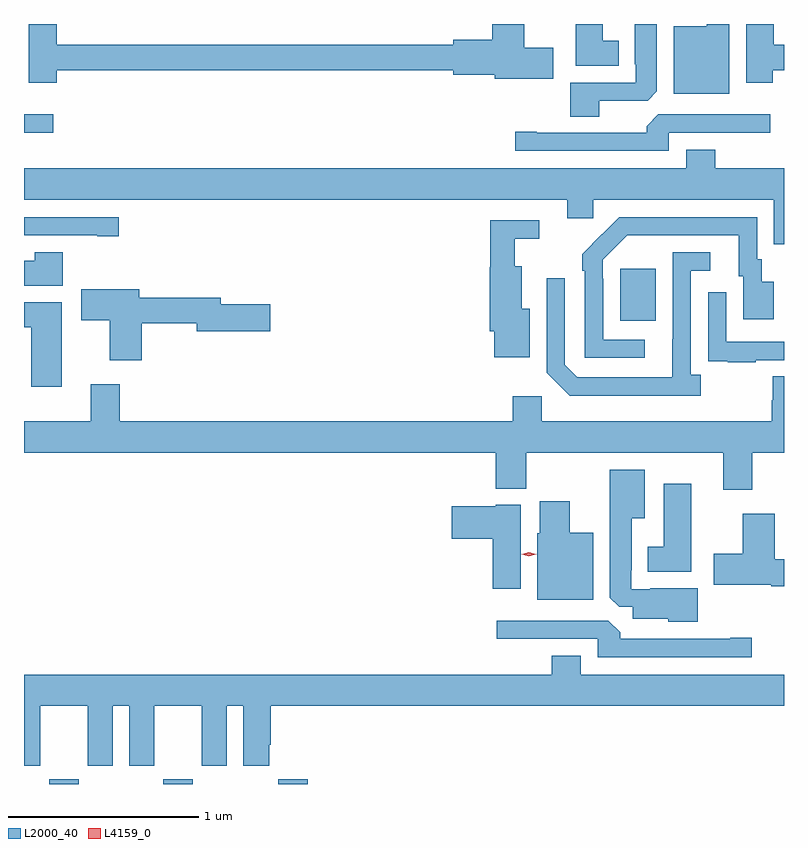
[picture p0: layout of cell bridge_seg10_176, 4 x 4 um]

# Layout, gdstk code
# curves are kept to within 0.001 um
import gdstk
lib = gdstk.Library(unit=1e-6, precision=1e-09)
def R(c, l, rs):  # rectangles x0, y0, x1, y1
    for r in rs: c.add(gdstk.rectangle(r[:2], r[2:], *l))
def P(c, l, *ps):  # polygons
    for p in ps: c.add(gdstk.Polygon(p, *l))
L2000_40 = (2000, 40)
L4159_0 = (4159, 0)

bridge_seg10_176 = lib.new_cell('bridge_seg10_176')
R(bridge_seg10_176, L2000_40, [(183.661,1266.604,183.816,1266.628), (184.261,1266.604,184.416,1266.628), (184.865,1266.604,185.021,1266.628), (186.665,1269.041,186.853,1269.316), (183.528,1270.032,183.682,1270.128)])
P(bridge_seg10_176, L2000_40, [(187.47,1270.36),(187.528,1270.36),(187.528,1270.496),(187.475,1270.496),(187.475,1270.604),(187.328,1270.604),(187.328,1270.296),(187.47,1270.296)],
  [(186.556,1270.2),(186.81,1270.2),(186.859,1270.249),(186.859,1270.604),(186.743,1270.604),(186.743,1270.393),(186.747,1270.393),(186.747,1270.296),(186.404,1270.296),(186.404,1270.117),(186.556,1270.117)],
  [(187.24,1270.604),(187.122,1270.604),(187.122,1270.591),(186.947,1270.591),(186.947,1270.238),(187.24,1270.238)],
  [(186.658,1270.516),(186.574,1270.516),(186.574,1270.604),(186.431,1270.604),(186.431,1270.385),(186.658,1270.385)],
  [(183.701,1270.36),(185.786,1270.36),(185.786,1270.337),(186.005,1270.337),(186.005,1270.316),(186.313,1270.316),(186.313,1270.479),(186.16,1270.479),(186.16,1270.604),(185.993,1270.604),(185.993,1270.52),(185.786,1270.52),(185.786,1270.496),(183.701,1270.496),(183.701,1270.604),(183.554,1270.604),(183.554,1270.296),(183.701,1270.296)],
  [(186.921,1270.032),(187.456,1270.032),(187.456,1270.128),(186.867,1270.128),(186.806,1270.066),(186.806,1270.032),(186.226,1270.032),(186.226,1270.037),(186.114,1270.037),(186.114,1269.936),(186.921,1269.936)],
  [(187.528,1269.844),(187.166,1269.844),(187.166,1269.943),(187.013,1269.943),(187.013,1269.844),(183.528,1269.844),(183.528,1269.68),(186.386,1269.68),(186.386,1269.582),(186.525,1269.582),(186.525,1269.68),(187.475,1269.68),(187.475,1269.445),(187.528,1269.445)],
  [(186.796,1268.943),(186.576,1268.943),(186.576,1269.263),(186.573,1269.263),(186.573,1269.363),(186.702,1269.492),(187.289,1269.492),(187.289,1269.276),(187.313,1269.276),(187.313,1269.051),(187.474,1269.051),(187.474,1269.247),(187.411,1269.247),(187.411,1269.366),(187.386,1269.366),(187.386,1269.588),(186.662,1269.588),(186.465,1269.393),(186.465,1269.305),(186.48,1269.305),(186.48,1268.847),(186.796,1268.847)],
  [(184.027,1269.588),(183.528,1269.588),(183.528,1269.492),(183.914,1269.492),(183.914,1269.487),(184.027,1269.487)],
  [(186.19,1269.106),(186.148,1269.106),(186.148,1269.328),(186.112,1269.328),(186.112,1269.473),(186.241,1269.473),(186.241,1269.57),(185.983,1269.57),(185.983,1269.324),(185.978,1269.324),(185.978,1268.988),(186.002,1268.988),(186.002,1268.849),(186.19,1268.849)],
  [(183.733,1269.403),(183.584,1269.403),(183.584,1269.357),(183.528,1269.357),(183.528,1269.227),(183.733,1269.227)],
  [(187.09,1268.758),(187.038,1268.758),(187.038,1269.306),(187.141,1269.306),(187.141,1269.402),(186.942,1269.402),(186.941,1268.745),(186.441,1268.745),(186.375,1268.811),(186.375,1269.265),(186.279,1269.265),(186.279,1268.769),(186.4,1268.648),(187.09,1268.648)],
  [(184.148,1269.028),(184.436,1269.028),(184.436,1268.986),(184.825,1268.986),(184.825,1269.128),(184.564,1269.128),(184.564,1269.164),(184.135,1269.164),(184.135,1269.208),(183.828,1269.208),(183.828,1269.046),(183.98,1269.046),(183.98,1268.835),(184.148,1268.835)],
  [(187.379,1268.835),(187.528,1268.835),(187.528,1268.931),(187.224,1268.931),(187.224,1269.193),(187.128,1269.193),(187.128,1268.938),(187.129,1268.938),(187.129,1268.829),(187.231,1268.829),(187.231,1268.823),(187.379,1268.823)],
  [(183.727,1269.139),(183.528,1269.139),(183.528,1269.008),(183.566,1269.008),(183.566,1268.694),(183.727,1268.694)],
  [(187.361,1268.348),(187.528,1268.348),(187.528,1268.75),(187.468,1268.75),(187.468,1268.625),(187.463,1268.625),(187.463,1268.512),(186.252,1268.512),(186.252,1268.644),(186.101,1268.644),(186.101,1268.512),(184.031,1268.512),(184.031,1268.707),(183.878,1268.707),(183.878,1268.512),(183.528,1268.512),(183.528,1268.348),(186.011,1268.348),(186.011,1268.159),(186.171,1268.159),(186.171,1268.348),(187.208,1268.348),(187.208,1268.154),(187.361,1268.154)],
  [(187.075,1267.633),(186.823,1267.633),(186.823,1267.629),(186.723,1267.629),(186.723,1267.729),(186.727,1267.729),(186.727,1268.003),(186.796,1268.003),(186.796,1268.257),(186.611,1268.257),(186.611,1267.585),(186.66,1267.536),(186.731,1267.536),(186.731,1267.475),(186.918,1267.475),(186.918,1267.457),(187.075,1267.457)],
  [(187.039,1268.185),(186.896,1268.185),(186.896,1267.852),(186.812,1267.852),(186.812,1267.721),(187.039,1267.721)],
  [(186.523,1267.927),(186.4,1267.927),(186.4,1268.092),(186.242,1268.092),(186.242,1267.923),(186.23,1267.923),(186.23,1267.574),(186.523,1267.574)],
  [(186.142,1268.074),(186.012,1268.074),(186.012,1268.065),(185.778,1268.065),(185.778,1267.895),(185.996,1267.895),(185.996,1267.632),(186.142,1267.632)],
  [(187.528,1267.787),(187.478,1267.787),(187.478,1268.026),(187.31,1268.026),(187.31,1267.815),(187.158,1267.815),(187.158,1267.652),(187.461,1267.652),(187.461,1267.645),(187.528,1267.645)],
  [(187.357,1267.373),(187.244,1267.373),(187.244,1267.368),(186.665,1267.368),(186.665,1267.402),(186.603,1267.464),(186.015,1267.464),(186.015,1267.368),(186.549,1267.368),(186.549,1267.272),(187.357,1267.272)],
  [(183.613,1267.016),(183.863,1267.016),(183.863,1266.699),(183.994,1266.699),(183.994,1267.016),(184.082,1267.016),(184.082,1266.699),(184.213,1266.699),(184.213,1267.016),(184.463,1267.016),(184.463,1266.699),(184.594,1266.699),(184.594,1267.016),(184.682,1267.016),(184.682,1266.699),(184.819,1266.699),(184.819,1266.811),(184.826,1266.811),(184.826,1267.016),(187.528,1267.016),(187.528,1267.18),(186.457,1267.18),(186.457,1267.279),(186.305,1267.279),(186.305,1267.18),(183.528,1267.18),(183.528,1266.699),(183.613,1266.699)])
P(bridge_seg10_176, L4159_0, [(186.185,1267.803),(186.147,1267.814),(186.147,1267.814),(186.147,1267.814),(186.185,1267.823),(186.223,1267.812),(186.223,1267.812),(186.223,1267.812)])

lib.write_gds('bridge_seg10_176.gds')
